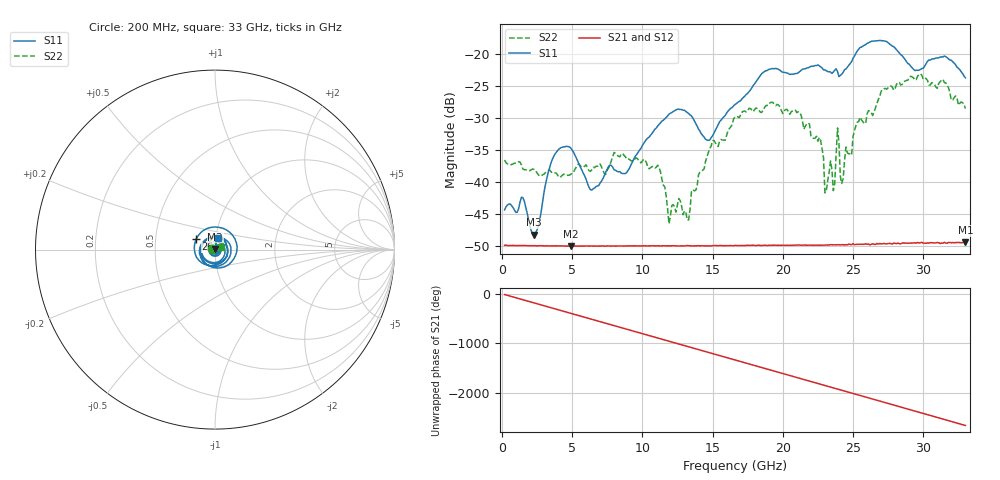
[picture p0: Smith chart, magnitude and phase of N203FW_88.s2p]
# GHZ S RI R 50
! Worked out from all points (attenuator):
!   329 points, 200 MHz to 33 GHz, reference 50 ohm
!   highest |S21| = -49.47 dB at 33 GHz (marker M1); lowest = -50.1 dB at 4.9 GHz (marker M2)
!   lowest |S11| = -48.3 dB at 2.3 GHz (marker M3), VSWR 1.01, Z = 50.1 + j0.359 ohm
!   |S11| at or under -10 dB: start of sweep to end of sweep
!   |S22| runs from -46.6 to -23.1 dB; largest |S21 - S12| = 8.8e-05
!   S11 on the Smith chart (normalised r, x): 200 MHz: 1.01, +0.00; 26 GHz: 0.80, +0.09; 33 GHz: 1.02, +0.13
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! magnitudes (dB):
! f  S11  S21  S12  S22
! 200 MHz  -44.4  -50.0  -49.9  -36.6
! 1.5 GHz  -42.5  -50.0  -50.0  -38.0
! 2.3 GHz  -48.3  -50.0  -50.0  -38.1
! 3.6 GHz  -36.5  -50.0  -50.0  -38.6
! 4.9 GHz  -34.7  -50.1  -50.1  -38.9
! 5.7 GHz  -38.2  -50.1  -50.1  -37.7
! 8.8 GHz  -38.7  -50.1  -50.0  -36.1
! 11.2 GHz  -31.0  -50.0  -50.0  -37.8
! 11.9 GHz  -29.5  -50.0  -50.0  -46.6
! 12.6 GHz  -28.7  -50.1  -50.0  -42.6
! 13.3 GHz  -29.3  -50.0  -50.0  -46.0
! 14.7 GHz  -33.6  -50.0  -50.0  -35.5
! 16.6 GHz  -27.9  -50.0  -50.0  -29.9
! 19.3 GHz  -22.3  -49.9  -49.9  -27.6
! 22.1 GHz  -22.0  -49.9  -49.9  -33.2
! 23.6 GHz  -22.9  -49.9  -49.9  -41.4
! 23.9 GHz  -22.8  -49.9  -49.9  -31.6
! 24.2 GHz  -23.2  -49.9  -49.8  -40.3
! 24.5 GHz  -22.4  -49.8  -49.8  -34.6
! 26 GHz  -18.4  -49.8  -49.7  -29.4
! 27.6 GHz  -18.5  -49.7  -49.7  -25.1
! 33 GHz  -23.8  -49.5  -49.5  -28.6
